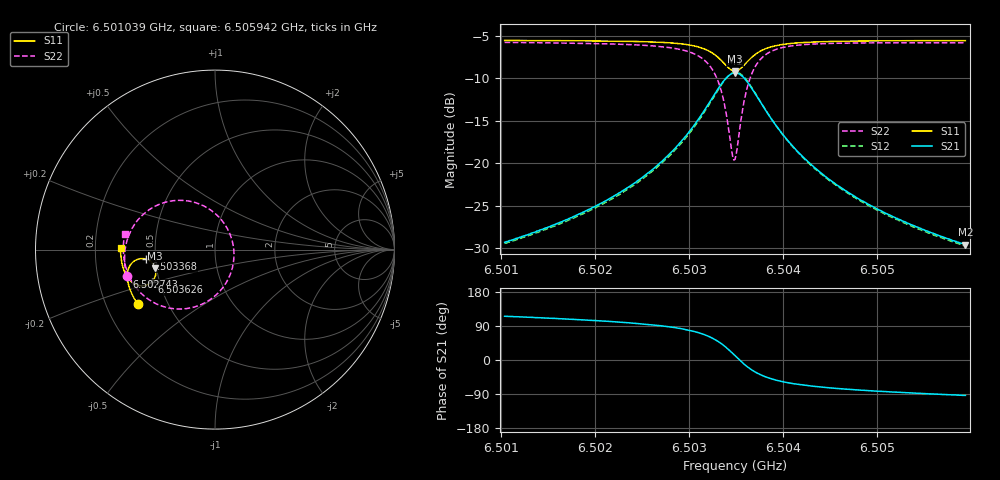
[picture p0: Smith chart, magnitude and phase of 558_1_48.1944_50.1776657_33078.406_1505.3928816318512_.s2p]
#  HZ  S  RI  R  50.00
! Rohde & Schwarz Vector Network Analyzer
! Rohde-Schwarz,ZNB20-2Port,1311601062101988,3.16
! Created: UTC 3/20/2024, 12:01:04 PM
! freq[Hz]  re:S11  im:S11  re:S21  im:S21  re:S12  im:S12  re:S22  im:S22
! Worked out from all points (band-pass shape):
!   401 points, 6.501039 GHz to 6.505942 GHz, reference 50 ohm
!   highest |S21| = -9.37 dB at 6.503491 GHz (marker M1); lowest = -29.6 dB at 6.505942 GHz (marker M2)
!   |S21| within 3 dB of the highest: 6.503247 GHz to 6.503737 GHz (490.1 kHz wide, 0.00754 % of centre)
!   lowest |S11| = -9.2 dB at 6.503491 GHz (marker M3), VSWR 2.07, Z = 24.6 - j5.78 ohm
!   |S11| at or under -10 dB: nowhere
!   |S22| runs from -19.6 to -5.8 dB; largest |S21 - S12| = 0.012
!   S11 on the Smith chart (normalised r, x): 6.501039 GHz: 0.34, -0.28; 6.502743 GHz: 0.33, -0.14; 6.503368 GHz: 0.44, -0.05; 6.503626 GHz: 0.45, -0.19; 6.505942 GHz: 0.31, +0.01
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6.5010395e9  -0.4303 -0.3044  -0.0147 0.031  -0.0131 0.0311  -0.4918 -0.1476
6.5018607e9  -0.4651 -0.2429  -0.014 0.0491  -0.0117 0.0487  -0.5036 -0.0588
6.5023388e9  -0.4813 -0.1995  -0.0105 0.0705  -0.00757 0.0693  -0.4991 0.0112
6.502682e9  -0.4889 -0.1605  -0.00152 0.0991  0.002 0.0968  -0.4792 0.0826
6.5027433e9  -0.4894 -0.1522  0.00182 0.1064  0.00538 0.1037  -0.4721 0.0986
6.5029639e9  -0.4859 -0.1172  0.0237 0.1417  0.0273 0.1376  -0.4261 0.1694
6.5031232e9  -0.4712 -0.0848  0.0631 0.1778  0.0658 0.1722  -0.3496 0.233
6.5032703e9  -0.4333 -0.055  0.1448 0.207  0.1454 0.2008  -0.2009 0.2746
6.5033684e9  -0.3866 -0.0521  0.2364 0.1906  0.2365 0.1863  -0.0423 0.2322
6.5034542e9  -0.3436 -0.0811  0.3152 0.1162  0.3179 0.1123  0.0837 0.0857
6.5034787e9  -0.3355 -0.0953  0.3289 0.0844  0.3322 0.0797  0.1012 0.0256
6.5034909e9  -0.3326 -0.1032  0.3332 0.0674  0.337 0.0623  0.1052 -0.00587
6.5035155e9  -0.3294 -0.1196  0.3368 0.0326  0.341 0.0262  0.103 -0.0696
6.5035522e9  -0.3315 -0.1438  0.3297 -0.0179  0.3334 -0.0264  0.076 -0.1591
6.5036258e9  -0.3538 -0.1812  0.283 -0.0949  0.2833 -0.1062  -0.034 -0.2833
6.5037238e9  -0.3948 -0.201  0.2045 -0.1387  0.1999 -0.149  -0.1941 -0.331
6.5038832e9  -0.4443 -0.1936  0.116 -0.1382  0.109 -0.1438  -0.3552 -0.2872
6.5040548e9  -0.4736 -0.1723  0.0677 -0.1173  0.0615 -0.12  -0.4335 -0.2199
6.5043122e9  -0.4961 -0.1409  0.0347 -0.0906  0.0299 -0.0911  -0.4814 -0.1417
6.5046799e9  -0.5118 -0.1019  0.0153 -0.0666  0.0119 -0.0662  -0.5043 -0.0662
6.5051334e9  -0.5213 -0.0593  0.00521 -0.0495  0.00299 -0.0487  -0.5106 -0.000458
6.5059424e9  -0.5264 0.00953  -0.00192 -0.0332  -0.00337 -0.0324  -0.5033 0.0868
